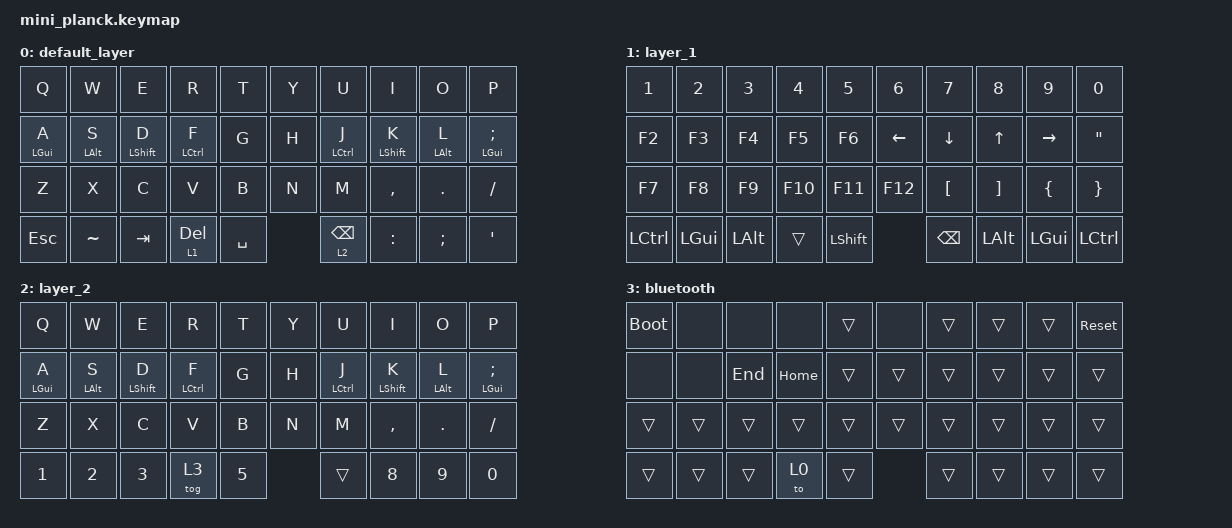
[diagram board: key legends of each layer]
#include <behaviors.dtsi>
#include <dt-bindings/zmk/keys.h>

/ {
    combos {
        compatible = "zmk,combos";

        bluetooth {
            bindings = <&mo 3>;
            key-positions = <41 36>;
        };

        bt2 {
            bindings = <&mo 3>;
            key-positions = <48 53>;
        };
    };

    behaviors {
        hml: hml {
            compatible = "zmk,behavior-hold-tap";
            label = "HOME_ROW_LEFT";
            bindings = <&kp>, <&kp>;

            #binding-cells = <2>;
            hold-trigger-key-positions = <6 7 8 9 10 11 18 19 20 21 22 23 30 31 32 33 34 35 42 43 44 45 46 47>;
            tapping-term-ms = <180>;
            quick-tap-ms = <175>;
            require-prior-idle-ms = <150>;
            flavor = "balanced";
            hold-trigger-on-release;
        };

        hmr: hmr {
            compatible = "zmk,behavior-hold-tap";
            label = "HOME_ROW_RIGHT";
            bindings = <&kp>, <&kp>;

            #binding-cells = <2>;
            tapping-term-ms = <180>;
            quick-tap-ms = <175>;
            require-prior-idle-ms = <150>;
            flavor = "balanced";
            hold-trigger-key-positions = <0 1 2 3 4 5 12 13 14 15 16 17 24 25 26 27 28 29 36 37 38 39 40 41>;
            hold-trigger-on-release;
        };
    };

    keymap {
        compatible = "zmk,keymap";

        default_layer {
            // -----------------------------------------------------------------------------------------
            // |  ESC |  1  |  2  |  3  |  4  |  5  |   |  6  |  7   |  8  |  9  |  0  |  ?   |
            // |  TAB |  Q  |  W  |  E  |  R  |  T  |   |  Y  |  U   |  I  |  O  |  P  | BKSP |
            // | CTRL |  A  |  S  |  D  |  F  |  G  |   |  H  |  J   |  K  |  L  |  ;  |  '   |
            // | SHFT |  Z  |  X  |  C  |  V  |  B  |   |  N  |  M   |  ,  |  .  |  /  | ESC  |
            //                    | GUI | LWR | SPC |   | ENT | RSE  | ALT |

            bindings = <
&kp Q            &kp W            &kp E              &kp R         &kp T      &kp Y  &kp U            &kp I              &kp O            &kp P
&hml LEFT_GUI A  &hml LEFT_ALT S  &hml LEFT_SHIFT D  &hml LCTRL F  &kp G      &kp H  &hmr LCTRL J     &hmr LEFT_SHIFT K  &hmr LEFT_ALT L  &hmr LEFT_GUI SEMI
&kp Z            &kp X            &kp C              &kp V         &kp B      &kp N  &kp M            &kp COMMA          &kp DOT          &kp SLASH
&kp ESCAPE       &kp TILDE        &kp TAB            &lt 1 DEL     &kp SPACE         &lt 2 BACKSPACE  &kp COLON          &kp SEMI         &kp SINGLE_QUOTE
            >;
        };

        layer_1 {
            // -----------------------------------------------------------------------------------------
            // |  TAB |  F1 |  F2 |  F3 |  F4 |  F5 |   |  F6 |  F7 |  F8 |  F9 | F10 | BKSP |
            // |  TAB |  1  |  2  |  3  |  4  |  5  |   |  6  |  7  |  8  |  9  |  0  | BKSP |
            // | BTCLR| BT1 | BT2 | BT3 | BT4 | BT5 |   | LFT | DWN |  UP | RGT |     |      |
            // | SHFT |     |     |     |     |     |   |     |     |     |     |     |      |
            //                    | GUI |     | SPC |   | ENT |     | ALT |

            bindings = <
&kp NUMBER_1  &kp NUMBER_2  &kp NUMBER_3  &kp NUMBER_4  &kp NUMBER_5    &kp NUMBER_6  &kp N7            &kp N8             &kp N9          &kp N0
&kp F2        &kp F3        &kp F4        &kp F5        &kp F6          &kp LEFT      &kp DOWN_ARROW    &kp UP_ARROW       &kp RIGHT       &kp DOUBLE_QUOTES
&kp F7        &kp F8        &kp F9        &kp F10       &kp F11         &kp F12       &kp LEFT_BRACKET  &kp RIGHT_BRACKET  &kp LEFT_BRACE  &kp RIGHT_BRACE
&kp LCTRL     &kp LEFT_GUI  &kp LEFT_ALT  &trans        &kp LEFT_SHIFT                &kp BACKSPACE     &kp LEFT_ALT       &kp LEFT_GUI    &kp LCTRL
            >;
        };

        layer_2 {
            // -----------------------------------------------------------------------------------------
            // |  TAB |  !  |  @  |  #  |  $  |  %  |   |  ^  |  &  |  *  |  (  |  )  | BKSP |
            // | CTRL |     |     |     |     |     |   |  -  |  =  |  [  |  ]  |  \  |  `   |
            // | SHFT |     |     |     |     |     |   |  _  |  +  |  {  |  }  | "|" |  ~   |
            //                    | GUI |     | SPC |   | ENT |     | ALT |

            bindings = <
&kp Q            &kp W            &kp E              &kp R         &kp T   &kp Y  &kp U         &kp I              &kp O            &kp P
&hml LEFT_GUI A  &hml LEFT_ALT S  &hml LEFT_SHIFT D  &hml LCTRL F  &kp G   &kp H  &hmr LCTRL J  &hmr LEFT_SHIFT K  &hmr LEFT_ALT L  &hmr LEFT_GUI SEMI
&kp Z            &kp X            &kp C              &kp V         &kp B   &kp N  &kp M         &kp COMMA          &kp DOT          &kp SLASH
&kp N1           &kp N2           &kp N3             &tog 3        &kp N5         &trans        &kp N8             &kp N9           &kp N0
            >;
        };

        bluetooth {
            bindings = <
&bootloader  &none   &none    &none     &trans  &none   &trans  &trans  &trans  &sys_reset
&none        &none   &kp END  &kp HOME  &trans  &trans  &trans  &trans  &trans  &trans
&trans       &trans  &trans   &trans    &trans  &trans  &trans  &trans  &trans  &trans
&trans       &trans  &trans   &to 0     &trans          &trans  &trans  &trans  &trans
            >;
        };
    };
};
